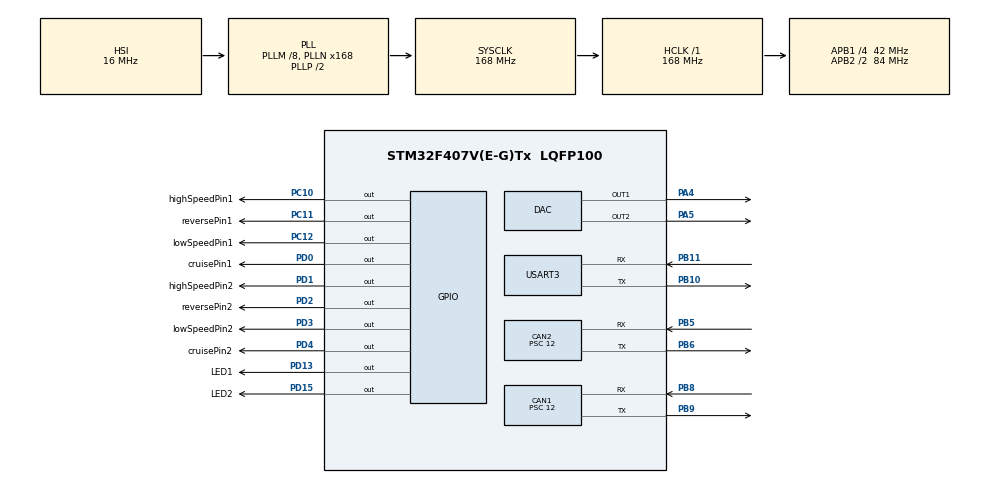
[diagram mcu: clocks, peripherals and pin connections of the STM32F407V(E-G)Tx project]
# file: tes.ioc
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CAN1.BS1=CAN_BS1_11TQ
CAN1.BS2=CAN_BS2_2TQ
CAN1.CalculateBaudRate=250000
CAN1.CalculateTimeBit=4000
CAN1.CalculateTimeQuantum=285.7142857142857
CAN1.Mode=CAN_MODE_NORMAL
CAN1.Prescaler=12
CAN2.BS1=CAN_BS1_11TQ
CAN2.BS2=CAN_BS2_2TQ
CAN2.CalculateBaudRate=250000
CAN2.CalculateTimeBit=4000
CAN2.CalculateTimeQuantum=285.7142857142857
CAN2.Prescaler=12
FREERTOS.Tasks01=canTransmit,1,128,can_transmit,Default,NULL,Dynamic,NULL,NULL;canRcvtask,2,128,can_rcv,Default,NULL,Dynamic,NULL,NULL;parsePXNTask,0,128,parsePXN,Default,NULL,Dynamic,NULL,NULL;parseVotolTask,-1,128,parseSetVotol,Default,NULL,Dynamic,NULL,NULL;ackerman,1,128,ackerman_func,Default,NULL,Dynamic,NULL,NULL;throttleVotol,3,128,throttleVotolTask,Default,NULL,Dynamic,NULL,NULL;can_rcvPXNTask,3,128,canRcvPXN,Default,NULL,Dynamic,NULL,NULL
FREERTOS.configENABLE_FPU=0
FREERTOS.configTICK_RATE_HZ=1000
FREERTOS.configUSE_COUNTING_SEMAPHORES=1
FREERTOS.configUSE_NEWLIB_REENTRANT=1
FREERTOS.configUSE_PREEMPTION=1
Mcu.Family=STM32F4
Mcu.Name=STM32F407V(E-G)Tx
Mcu.Package=LQFP100
NVIC.CAN1_RX1_IRQn=true\:5\:0\:false\:false\:true\:true\:true\:true\:true
NVIC.CAN2_RX1_IRQn=true\:5\:0\:false\:false\:true\:true\:true\:true\:true
NVIC.PriorityGroup=NVIC_PRIORITYGROUP_4
NVIC.TIM6_DAC_IRQn=true\:15\:0\:false\:false\:true\:false\:false\:true\:true
NVIC.TimeBase=TIM6_DAC_IRQn
NVIC.TimeBaseIP=TIM6
NVIC.USART3_IRQn=true\:5\:0\:false\:false\:true\:true\:true\:true\:true
PA13.Mode=Serial_Wire
PA13.Signal=SYS_JTMS-SWDIO
PA14.Mode=Serial_Wire
PA14.Signal=SYS_JTCK-SWCLK
PA4.Signal=COMP_DAC1_group
PA5.Signal=COMP_DAC2_group
PB10.Mode=Asynchronous
PB10.Signal=USART3_TX
PB11.Mode=Asynchronous
PB11.Signal=USART3_RX
PB5.GPIO_PuPd=GPIO_PULLUP
PB5.Mode=CAN_Activate
PB5.Signal=CAN2_RX
PB6.Mode=CAN_Activate
PB6.Signal=CAN2_TX
PB8.GPIO_Mode=GPIO_MODE_AF_PP
PB8.GPIO_PuPd=GPIO_PULLUP
PB8.GPIO_Speed=GPIO_SPEED_FREQ_VERY_HIGH
PB8.Mode=CAN_Activate
PB8.Signal=CAN1_RX
PB9.GPIO_Mode=GPIO_MODE_AF_PP
PB9.GPIO_PuPd=GPIO_NOPULL
PB9.GPIO_Speed=GPIO_SPEED_FREQ_VERY_HIGH
PB9.Mode=CAN_Activate
PB9.Signal=CAN1_TX
PC10.GPIO_Label=highSpeedPin1
PC10.Signal=GPIO_Output
PC11.GPIO_Label=reversePin1
PC11.Signal=GPIO_Output
PC12.GPIO_Label=lowSpeedPin1
PC12.Signal=GPIO_Output
PD0.GPIO_Label=cruisePin1
PD0.Signal=GPIO_Output
PD1.GPIO_Label=highSpeedPin2
PD1.Signal=GPIO_Output
PD13.GPIO_Label=LED1
PD13.Signal=GPIO_Output
PD15.GPIO_Label=LED2
PD15.Signal=GPIO_Output
PD2.GPIO_Label=reversePin2
PD2.Signal=GPIO_Output
PD3.GPIO_Label=lowSpeedPin2
PD3.Signal=GPIO_Output
PD4.GPIO_Label=cruisePin2
PD4.Signal=GPIO_Output
PH0-OSC_IN.Mode=HSE-External-Oscillator
PH0-OSC_IN.Signal=RCC_OSC_IN
PH1-OSC_OUT.Mode=HSE-External-Oscillator
PH1-OSC_OUT.Signal=RCC_OSC_OUT
ProjectManager.HeapSize=0x200
ProjectManager.StackSize=0x400
ProjectManager.TargetToolchain=STM32CubeIDE
RCC.48MHZClocksFreq_Value=84000000
RCC.AHBFreq_Value=168000000
RCC.APB1CLKDivider=RCC_HCLK_DIV4
RCC.APB1Freq_Value=42000000
RCC.APB1TimFreq_Value=84000000
RCC.APB2CLKDivider=RCC_HCLK_DIV2
RCC.APB2Freq_Value=84000000
RCC.APB2TimFreq_Value=168000000
RCC.CortexFreq_Value=168000000
RCC.HCLKFreq_Value=168000000
RCC.HSE_VALUE=8000000
RCC.HSI_VALUE=16000000
RCC.LSE_VALUE=32768
RCC.PLLM=8
RCC.PLLN=168
RCC.SYSCLKFreq_VALUE=168000000
RCC.SYSCLKSource=RCC_SYSCLKSOURCE_PLLCLK
RCC.VCOOutputFreq_Value=336000000
SH.COMP_DAC1_group.0=DAC_OUT1,DAC_OUT1
SH.COMP_DAC2_group.0=DAC_OUT2,DAC_OUT2
TIM2.Period=1000000
TIM2.Prescaler=168-1
USART3.VirtualMode=VM_ASYNC
VP_FREERTOS_VS_CMSIS_V1.Mode=CMSIS_V1
VP_SYS_VS_tim6.Mode=TIM6
VP_TIM2_VS_ClockSourceINT.Mode=Internal
board=custom

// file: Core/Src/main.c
/* USER CODE BEGIN Header */
/**
  ******************************************************************************
  * @file           : main.c
  * @brief          : Main program body
  ******************************************************************************
  * @attention
  *
  * Copyright (c) 2024 STMicroelectronics.
  * All rights reserved.
  *
  * This software is licensed under terms that can be found in the LICENSE file
  * in the root directory of this software component.
  * If no LICENSE file comes with this software, it is provided AS-IS.
  *
  ******************************************************************************
  */
/* USER CODE END Header */
#include "main.h"
#include "cmsis_os.h"

/* USER CODE BEGIN PD */
#define RPM_ECO 	 2262;
#define RPM_NORMAL 	 3548;
#define RPM_SPORT	 4060;
/* USER CODE END PD */

CAN_HandleTypeDef hcan1;
CAN_HandleTypeDef hcan2;

DAC_HandleTypeDef hdac;

TIM_HandleTypeDef htim2;

UART_HandleTypeDef huart3;

osThreadId canTransmitHandle;
osThreadId canRcvtaskHandle;
osThreadId parsePXNTaskHandle;
osThreadId parseVotolTaskHandle;
osThreadId ackermanHandle;
osThreadId throttleVotolHandle;
osThreadId can_rcvPXNTaskHandle;
/* USER CODE BEGIN PV */
uint8_t tes1 = 0;
uint8_t tes2 = 0;
uint16_t out_tes = 0;

uint8_t rxtxBuffer[100];

//int flag_trigPXN = 0;
//int flag_trigVotol = 0;
//int steering_angle=0, throttle=0, trig_cntr =0;
//float vehicle_speed = 0;

/* USER CODE END PV */

void SystemClock_Config(void);
static void MX_GPIO_Init(void);
static void MX_CAN1_Init(void);
static void MX_USART3_UART_Init(void);
static void MX_DAC_Init(void);
static void MX_TIM2_Init(void);
static void MX_CAN2_Init(void);
void can_transmit(void const * argument);
void can_rcv(void const * argument);
void parsePXN(void const * argument);
void parseSetVotol(void const * argument);
void ackerman_func(void const * argument);
void throttleVotolTask(void const * argument);
void canRcvPXN(void const * argument);

/* USER CODE BEGIN PFP */
//void getSpeed(void);
//void getWheelSpeed(void);
//void getAngularSpeed(void);
void MotorData(void);
/* USER CODE END PFP */

/* USER CODE BEGIN 0 */

/* ================= Variable for CAN ================= */
CAN_TxHeaderTypeDef   TxHeader1; //for LeftVotol1
CAN_TxHeaderTypeDef   TxHeader2; //for LeftVotol2
CAN_TxHeaderTypeDef   TxHeader3; //for LeftVotol1
CAN_TxHeaderTypeDef   TxHeader4; //for LeftVotol2
CAN_TxHeaderTypeDef   TxHeader5; //for PXN Low Voltage
CAN_TxHeaderTypeDef   TxHeader6; //for PXN Low Voltage 2
CAN_TxHeaderTypeDef   TxHeader7; //for PXN Low Voltage 3

CAN_RxHeaderTypeDef   RxHeader;    //for Receive CAN1
uint8_t               RxData[8] = {0};
CAN_RxHeaderTypeDef   RxHeaderPXN; //for Receive CAN2
uint8_t               RxDataPXN[8] = {0};

uint8_t               TxData1[8]; //for LeftVotol1
uint8_t               TxData2[8]; //for LeftVotol2
uint8_t               TxData3[8]; //for LeftVotol1
uint8_t               TxData4[8]; //for LeftVotol2
uint8_t               TxData5[8]; //for PXN Low Voltage
uint8_t               TxData6[8]; //for PXN Low Voltage 2
uint8_t               TxData7[8]; //for PXN Low Voltage 3

uint32_t              TxMailbox; //mailbox

HAL_StatusTypeDef	CAN_State;
HAL_StatusTypeDef	CAN_State2;
/* ================= Variable for Votol Data ================= */
uint8_t  L_ControllerTemp = 0xEE, L_ExternalTemp = 0xFF, L_GearStatus = 0xCC, L_ControllerStatus = 0xDD;
uint8_t  Vehicle_Speed = 0x00;
uint16_t L_MotorVoltage = 0xAABB, L_MotorCurrent = 0xCCDD, L_MotorRPM = 0x0000, L_TempCoef = 0xAABB;
uint32_t L_MotorFC = 0x08100000;

uint8_t  R_ControllerTemp = 0, R_ExternalTemp = 0, R_GearStatus = 0, R_ControllerStatus = 0;
uint16_t R_MotorVoltage = 0, R_MotorCurrent = 0, R_MotorRPM = 0x1000, R_TempCoef = 0;
uint32_t R_MotorFC = 0;

float angular_speed1 = 0.0, angular_speed2 = 0.0;
float wheel_speed1, wheel_speed2;
float angular_speed;
float turning_radius;
float vehicle_speed = 0;
float wheels_radius = 0.19; //(m)
float L = 2.3; //(m) vehicle body length
float d = 1.46; //(m) vehicle body width

int RPM_th = RPM_NORMAL;
/* ================= Variable for UART ================= */
uint8_t transmitBuffer[100];

/* ================= Variable for PXN Data ================= */
float SteeringWheel = 0;
int SteeringWheelInt = 0;
int Pedal = 0;
uint16_t type;
uint16_t code;
int32_t value = 0;

/* ================= Variable for Votol Input ================= */
uint16_t setDAC1=(float)1.25*4095/2.95, setDAC2=(float)1.25*4095/2.95, maxSpeed1=4095*0.5;
uint16_t targetDAC1=(float)1.25*4095/2.95, targetDAC2=(float)1.25*4095/2.95, maxSpeed2=4095*0.5;

/* ================= Timer Variable ===================== */
uint16_t timer_val = 0;

/* ================= Low Voltage System ===================== */
int data1, data2, LB, HB, FL, DL;
uint8_t  Byte0 = 0x1F, Byte1 = 0x0C, door = 0x02;

/* ================= bitRead & bitSet ================== */
// Define untuk mengambil bit ke-n dari sebuah byte
#define bitRead(value, bit) (((value) >> (bit)) & 0x03)
// Define untuk mengganti bit ke-n dari sebuah byte
#define bitSet(byte, n, value) ((value) ? (byte |= (1UL << (n))) : (byte &= ~(1UL << (n))))
/* USER CODE END 0 */

int main(void)
{

  /* MCU Configuration--------------------------------------------------------*/

  /* Reset of all peripherals, Initializes the Flash interface and the Systick. */
  HAL_Init();

  /* Configure the system clock */
  SystemClock_Config();

  /* Initialize all configured peripherals */
  MX_GPIO_Init();
  MX_CAN1_Init();
  MX_USART3_UART_Init();
  MX_DAC_Init();
  MX_TIM2_Init();
  MX_CAN2_Init();
  /* USER CODE BEGIN 2 */
  HAL_DAC_Start(&hdac, DAC_CHANNEL_1); //****************************
  HAL_DAC_Start(&hdac, DAC_CHANNEL_2);
  HAL_DAC_SetValue(&hdac, DAC_CHANNEL_1,DAC_ALIGN_12B_R, (setDAC1));
  HAL_DAC_SetValue(&hdac, DAC_CHANNEL_2,DAC_ALIGN_12B_R, (setDAC2));
  //HAL_TIM_Base_Start(&htim2);
  //HAL_CAN_ActivateNotification(&hcan1, CAN_IT_RX_FIFO0_MSG_PENDING);
  HAL_TIM_Base_Start(&htim2);

  /* USER CODE END 2 */

  /* Create the thread(s) */
  /* definition and creation of canTransmit */
  osThreadDef(canTransmit, can_transmit, osPriorityAboveNormal, 0, 128);
  canTransmitHandle = osThreadCreate(osThread(canTransmit), NULL);

  /* definition and creation of canRcvtask */
  osThreadDef(canRcvtask, can_rcv, osPriorityHigh, 0, 128);
  canRcvtaskHandle = osThreadCreate(osThread(canRcvtask), NULL);

  /* definition and creation of parsePXNTask */
  osThreadDef(parsePXNTask, parsePXN, osPriorityNormal, 0, 128);
  parsePXNTaskHandle = osThreadCreate(osThread(parsePXNTask), NULL);

  /* definition and creation of parseVotolTask */
  osThreadDef(parseVotolTask, parseSetVotol, osPriorityBelowNormal, 0, 128);
  parseVotolTaskHandle = osThreadCreate(osThread(parseVotolTask), NULL);

  /* definition and creation of ackerman */
  osThreadDef(ackerman, ackerman_func, osPriorityAboveNormal, 0, 128);
  ackermanHandle = osThreadCreate(osThread(ackerman), NULL);

  /* definition and creation of throttleVotol */
  osThreadDef(throttleVotol, throttleVotolTask, osPriorityRealtime, 0, 128);
  throttleVotolHandle = osThreadCreate(osThread(throttleVotol), NULL);

  /* definition and creation of can_rcvPXNTask */
  osThreadDef(can_rcvPXNTask, canRcvPXN, osPriorityRealtime, 0, 128);
  can_rcvPXNTaskHandle = osThreadCreate(osThread(can_rcvPXNTask), NULL);

  /* Start scheduler */
  osKernelStart();

  /* We should never get here as control is now taken by the scheduler */
  /* Infinite loop */
  while (1)
  {

  }
}

void SystemClock_Config(void)
{
  RCC_OscInitTypeDef RCC_OscInitStruct = {0};
  RCC_ClkInitTypeDef RCC_ClkInitStruct = {0};

  /** Configure the main internal regulator output voltage
  */
  __HAL_RCC_PWR_CLK_ENABLE();
  __HAL_PWR_VOLTAGESCALING_CONFIG(PWR_REGULATOR_VOLTAGE_SCALE1);

  /** Initializes the RCC Oscillators according to the specified parameters
  * in the RCC_OscInitTypeDef structure.
  */
  RCC_OscInitStruct.OscillatorType = RCC_OSCILLATORTYPE_HSI;
  RCC_OscInitStruct.HSIState = RCC_HSI_ON;
  RCC_OscInitStruct.HSICalibrationValue = RCC_HSICALIBRATION_DEFAULT;
  RCC_OscInitStruct.PLL.PLLState = RCC_PLL_ON;
  RCC_OscInitStruct.PLL.PLLSource = RCC_PLLSOURCE_HSI;
  RCC_OscInitStruct.PLL.PLLM = 8;
  RCC_OscInitStruct.PLL.PLLN = 168;
  RCC_OscInitStruct.PLL.PLLP = RCC_PLLP_DIV2;
  RCC_OscInitStruct.PLL.PLLQ = 4;
  if (HAL_RCC_OscConfig(&RCC_OscInitStruct) != HAL_OK)
  {
    Error_Handler();
  }

  /** Initializes the CPU, AHB and APB buses clocks
  */
  RCC_ClkInitStruct.ClockType = RCC_CLOCKTYPE_HCLK|RCC_CLOCKTYPE_SYSCLK
                              |RCC_CLOCKTYPE_PCLK1|RCC_CLOCKTYPE_PCLK2;
  RCC_ClkInitStruct.SYSCLKSource = RCC_SYSCLKSOURCE_PLLCLK;
  RCC_ClkInitStruct.AHBCLKDivider = RCC_SYSCLK_DIV1;
  RCC_ClkInitStruct.APB1CLKDivider = RCC_HCLK_DIV4;
  RCC_ClkInitStruct.APB2CLKDivider = RCC_HCLK_DIV2;

  if (HAL_RCC_ClockConfig(&RCC_ClkInitStruct, FLASH_LATENCY_5) != HAL_OK)
  {
    Error_Handler();
  }
}

static void MX_CAN1_Init(void)
{

  hcan1.Instance = CAN1;
  hcan1.Init.Prescaler = 12;
  hcan1.Init.Mode = CAN_MODE_NORMAL;
  hcan1.Init.SyncJumpWidth = CAN_SJW_1TQ;
  hcan1.Init.TimeSeg1 = CAN_BS1_11TQ;
  hcan1.Init.TimeSeg2 = CAN_BS2_2TQ;
  hcan1.Init.TimeTriggeredMode = DISABLE;
  hcan1.Init.AutoBusOff = DISABLE;
  hcan1.Init.AutoWakeUp = DISABLE;
  hcan1.Init.AutoRetransmission = DISABLE;
  hcan1.Init.ReceiveFifoLocked = DISABLE;
  hcan1.Init.TransmitFifoPriority = DISABLE;
  if (HAL_CAN_Init(&hcan1) != HAL_OK)
  {
    Error_Handler();
  }
  /* USER CODE BEGIN CAN1_Init 2 */
  CAN_FilterTypeDef canfilterconfig;
  canfilterconfig.FilterActivation = CAN_FILTER_ENABLE;
  canfilterconfig.FilterBank = 10;
  canfilterconfig.FilterFIFOAssignment = CAN_RX_FIFO1;
  canfilterconfig.FilterIdHigh = 0;
  canfilterconfig.FilterIdLow = 0x0000;
  canfilterconfig.FilterMaskIdHigh = 0;
  canfilterconfig.FilterMaskIdLow = 0x0000;
  canfilterconfig.FilterMode = CAN_FILTERMODE_IDMASK;
  canfilterconfig.FilterScale = CAN_FILTERSCALE_32BIT;
  canfilterconfig.SlaveStartFilterBank = 0;

  if(HAL_CAN_ConfigFilter(&hcan1, &canfilterconfig) != HAL_OK)
    {
      Error_Handler();
    }

  if(HAL_CAN_Start(&hcan1) != HAL_OK)
    {
        Error_Handler();
    }

  if (HAL_CAN_ActivateNotification(&hcan1, CAN_IT_RX_FIFO1_MSG_PENDING) != HAL_OK)
    {
      /* Notification Error */
      Error_Handler();
    }

  TxHeader1.IDE = CAN_ID_EXT;
  TxHeader1.ExtId = 0xCF003FE; //Left Motor Voltage 1
  TxHeader1.RTR = CAN_RTR_DATA;
  TxHeader1.DLC = 8;

  TxHeader2.IDE = CAN_ID_EXT;
  TxHeader2.ExtId = 0xCF004FE; //Left Motor Voltage 2
  TxHeader2.RTR = CAN_RTR_DATA;
  TxHeader2.DLC = 8;

  TxHeader3.IDE = CAN_ID_EXT;
  TxHeader3.ExtId = 0xCFEDFFE; //Right Motor Voltage 1
  TxHeader3.RTR = CAN_RTR_DATA;
  TxHeader3.DLC = 8;

  TxHeader4.IDE = CAN_ID_EXT;
  TxHeader4.ExtId = 0xCFEBEFE; //Right Motor Voltage 2
  TxHeader4.RTR = CAN_RTR_DATA;
  TxHeader4.DLC = 8;

  TxHeader5.IDE = CAN_ID_EXT;
  TxHeader5.ExtId = 0x18FE401E; //Low Voltage PXN
  TxHeader5.RTR = CAN_RTR_DATA;
  TxHeader5.DLC = 8;

  TxHeader6.IDE = CAN_ID_EXT;
  TxHeader6.ExtId = 0x18FE4EEC; //Low Voltage PXN 2
  TxHeader6.RTR = CAN_RTR_DATA;
  TxHeader6.DLC = 8;

  TxHeader7.IDE = CAN_ID_EXT;
  TxHeader7.ExtId = 0x98F001FE; //Low Voltage PXN 3
  TxHeader7.RTR = CAN_RTR_DATA;
  TxHeader7.DLC = 8;
  /* USER CODE END CAN1_Init 2 */

}

static void MX_CAN2_Init(void)
{

  hcan2.Instance = CAN2;
  hcan2.Init.Prescaler = 12;
  hcan2.Init.Mode = CAN_MODE_NORMAL;
  hcan2.Init.SyncJumpWidth = CAN_SJW_1TQ;
  hcan2.Init.TimeSeg1 = CAN_BS1_11TQ;
  hcan2.Init.TimeSeg2 = CAN_BS2_2TQ;
  hcan2.Init.TimeTriggeredMode = DISABLE;
  hcan2.Init.AutoBusOff = DISABLE;
  hcan2.Init.AutoWakeUp = DISABLE;
  hcan2.Init.AutoRetransmission = DISABLE;
  hcan2.Init.ReceiveFifoLocked = DISABLE;
  hcan2.Init.TransmitFifoPriority = DISABLE;
  if (HAL_CAN_Init(&hcan2) != HAL_OK)
  {
    Error_Handler();
  }
  /* USER CODE BEGIN CAN2_Init 2 */
  CAN_FilterTypeDef canfilterconfig2;
  canfilterconfig2.FilterActivation = CAN_FILTER_ENABLE;
  canfilterconfig2.FilterBank = 10;
  canfilterconfig2.FilterFIFOAssignment = CAN_RX_FIFO1;
  canfilterconfig2.FilterIdHigh = 0;
  canfilterconfig2.FilterIdLow = 0x0000;
  canfilterconfig2.FilterMaskIdHigh = 0;
  canfilterconfig2.FilterMaskIdLow = 0x0000;
  canfilterconfig2.FilterMode = CAN_FILTERMODE_IDMASK;
  canfilterconfig2.FilterScale = CAN_FILTERSCALE_32BIT;
  canfilterconfig2.SlaveStartFilterBank = 0;

    if(HAL_CAN_ConfigFilter(&hcan2, &canfilterconfig2) != HAL_OK)
      {
        Error_Handler();
      }

    if(HAL_CAN_Start(&hcan2) != HAL_OK)
        {
          Error_Handler();
        }

    if (HAL_CAN_ActivateNotification(&hcan2, CAN_IT_RX_FIFO1_MSG_PENDING) != HAL_OK)
      {
        /* Notification Error */
        Error_Handler();
      }
  /* USER CODE END CAN2_Init 2 */

}

static void MX_DAC_Init(void)
{

  DAC_ChannelConfTypeDef sConfig = {0};

  /** DAC Initialization
  */
  hdac.Instance = DAC;
  if (HAL_DAC_Init(&hdac) != HAL_OK)
  {
    Error_Handler();
  }

  /** DAC channel OUT1 config
  */
  sConfig.DAC_Trigger = DAC_TRIGGER_NONE;
  sConfig.DAC_OutputBuffer = DAC_OUTPUTBUFFER_ENABLE;
  if (HAL_DAC_ConfigChannel(&hdac, &sConfig, DAC_CHANNEL_1) != HAL_OK)
  {
    Error_Handler();
  }

  /** DAC channel OUT2 config
  */
  if (HAL_DAC_ConfigChannel(&hdac, &sConfig, DAC_CHANNEL_2) != HAL_OK)
  {
    Error_Handler();
  }

}

static void MX_TIM2_Init(void)
{

  TIM_ClockConfigTypeDef sClockSourceConfig = {0};
  TIM_MasterConfigTypeDef sMasterConfig = {0};

  htim2.Instance = TIM2;
  htim2.Init.Prescaler = 168-1;
  htim2.Init.CounterMode = TIM_COUNTERMODE_UP;
  htim2.Init.Period = 1000000;
  htim2.Init.ClockDivision = TIM_CLOCKDIVISION_DIV1;
  htim2.Init.AutoReloadPreload = TIM_AUTORELOAD_PRELOAD_DISABLE;
  if (HAL_TIM_Base_Init(&htim2) != HAL_OK)
  {
    Error_Handler();
  }
  sClockSourceConfig.ClockSource = TIM_CLOCKSOURCE_INTERNAL;
  if (HAL_TIM_ConfigClockSource(&htim2, &sClockSourceConfig) != HAL_OK)
  {
    Error_Handler();
  }
  sMasterConfig.MasterOutputTrigger = TIM_TRGO_RESET;
  sMasterConfig.MasterSlaveMode = TIM_MASTERSLAVEMODE_DISABLE;
  if (HAL_TIMEx_MasterConfigSynchronization(&htim2, &sMasterConfig) != HAL_OK)
  {
    Error_Handler();
  }

}

static void MX_USART3_UART_Init(void)
{

  huart3.Instance = USART3;
  huart3.Init.BaudRate = 115200;
  huart3.Init.WordLength = UART_WORDLENGTH_8B;
  huart3.Init.StopBits = UART_STOPBITS_1;
  huart3.Init.Parity = UART_PARITY_NONE;
  huart3.Init.Mode = UART_MODE_TX_RX;
  huart3.Init.HwFlowCtl = UART_HWCONTROL_NONE;
  huart3.Init.OverSampling = UART_OVERSAMPLING_16;
  if (HAL_UART_Init(&huart3) != HAL_OK)
  {
    Error_Handler();
  }

}

static void MX_GPIO_Init(void)
{
  GPIO_InitTypeDef GPIO_InitStruct = {0};

  /* GPIO Ports Clock Enable */
  __HAL_RCC_GPIOH_CLK_ENABLE();
  __HAL_RCC_GPIOA_CLK_ENABLE();
  __HAL_RCC_GPIOB_CLK_ENABLE();
  __HAL_RCC_GPIOD_CLK_ENABLE();
  __HAL_RCC_GPIOC_CLK_ENABLE();

  /*Configure GPIO pin Output Level */
  HAL_GPIO_WritePin(GPIOD, LED1_Pin|LED2_Pin|cruisePin1_Pin|highSpeedPin2_Pin
                          |reversePin2_Pin|lowSpeedPin2_Pin|cruisePin2_Pin, GPIO_PIN_RESET);

  /*Configure GPIO pin Output Level */
  HAL_GPIO_WritePin(GPIOC, highSpeedPin1_Pin|reversePin1_Pin|lowSpeedPin1_Pin, GPIO_PIN_RESET);

  /*Configure GPIO pins : LED1_Pin LED2_Pin cruisePin1_Pin highSpeedPin2_Pin
                           reversePin2_Pin lowSpeedPin2_Pin cruisePin2_Pin */
  GPIO_InitStruct.Pin = LED1_Pin|LED2_Pin|cruisePin1_Pin|highSpeedPin2_Pin
                          |reversePin2_Pin|lowSpeedPin2_Pin|cruisePin2_Pin;
  GPIO_InitStruct.Mode = GPIO_MODE_OUTPUT_PP;
  GPIO_InitStruct.Pull = GPIO_NOPULL;
  GPIO_InitStruct.Speed = GPIO_SPEED_FREQ_LOW;
  HAL_GPIO_Init(GPIOD, &GPIO_InitStruct);

  /*Configure GPIO pins : highSpeedPin1_Pin reversePin1_Pin lowSpeedPin1_Pin */
  GPIO_InitStruct.Pin = highSpeedPin1_Pin|reversePin1_Pin|lowSpeedPin1_Pin;
  GPIO_InitStruct.Mode = GPIO_MODE_OUTPUT_PP;
  GPIO_InitStruct.Pull = GPIO_NOPULL;
  GPIO_InitStruct.Speed = GPIO_SPEED_FREQ_LOW;
  HAL_GPIO_Init(GPIOC, &GPIO_InitStruct);

}

/* USER CODE BEGIN 4 */
//CAN Rcv interrupt callback
void HAL_CAN_RxFifo1MsgPendingCallback(CAN_HandleTypeDef *hcan)
{
	//Receive from AAOS
	CAN_State = HAL_CAN_GetRxMessage(&hcan1, CAN_RX_FIFO1, &RxHeader, RxData);
	//timer_val = __HAL_TIM_GET_COUNTER(&htim2) - timer_val;

	//Receive from PXN
	CAN_State2 = HAL_CAN_GetRxMessage(&hcan2, CAN_RX_FIFO1, &RxHeaderPXN, RxDataPXN);
}

/*
void getSpeed(void)
{
	vehicle_speed = L_MotorRPM * 6000 / 255; //in RPM
	vehicle_speed = (vehicle_speed * (2*3.14))/60; // in rad/s
	vehicle_speed = vehicle_speed * wheels_radius; // (m/s)
}

void getWheelSpeed(void)
{
	angular_speed = vehicle_speed * tanf(SteeringWheelInt*3.14/180)/L;
	turning_radius = vehicle_speed/angular_speed;

	wheel_speed1 = angular_speed * (turning_radius+(d/2));
	wheel_speed2 = angular_speed * (turning_radius-(d/2));
}

void getAngularSpeed(void)
{
	angular_speed1 = wheel_speed1 / wheels_radius;
	angular_speed2 = wheel_speed2 / wheels_radius;
}*/

void MotorData(void)
{
	/* LEFT MOTOR */
	TxData1[1] = L_MotorVoltage;
	TxData1[0] = L_MotorVoltage >> 8;
	TxData1[3] = L_MotorCurrent;
	TxData1[2] = L_MotorCurrent >> 8;
	TxData1[7] = L_MotorFC;
	TxData1[6] = L_MotorFC >> 8;
	TxData1[5] = L_MotorFC >> 16;
	TxData1[4] = L_MotorFC >> 24;

	TxData2[1] = L_MotorRPM;
	TxData2[0] = L_MotorRPM >> 8;
	//TxData2[2] = L_Cont	rollerTemp;
	//Vehicle_Speed = 5;
	TxData2[2] = Vehicle_Speed;
	TxData2[3] = L_ExternalTemp;
	TxData2[5] = L_TempCoef;
	TxData2[4] = L_TempCoef >> 8;
	TxData2[6] = L_GearStatus;
	TxData2[7] = L_ControllerStatus;

	/* RIGHT MOTOR */
	TxData3[1] = R_MotorVoltage;
	TxData3[0] = R_MotorVoltage >> 8;
	TxData3[3] = R_MotorCurrent;
	TxData3[2] = R_MotorCurrent >> 8;
	TxData3[7] = R_MotorFC;
	TxData3[6] = R_MotorFC >> 8;
	TxData3[5] = R_MotorFC >> 16;
	TxData3[4] = R_MotorFC >> 24;

	TxData4[1] = R_MotorRPM;
	TxData4[0] = R_MotorRPM >> 8;
	TxData4[2] = R_ControllerTemp;
	TxData4[3] = R_ExternalTemp;
	TxData4[5] = R_TempCoef;
	TxData4[4] = R_TempCoef >> 8;
	TxData4[6] = R_GearStatus;
	TxData4[7] = R_ControllerStatus;
}

void PXNLowVoltageData(void)
{
	TxData5 [0] = Byte0;
	TxData5 [1] = Byte1;
	TxData5 [2] = 0xFF;
	TxData5 [3] = 0xFF;
	TxData5 [4] = 0xFC;
	TxData5 [5] = 0xFF;
	TxData5 [6] = 0xFF;
	TxData5 [7] = door;

	TxData6 [0] = door;
	TxData6 [1] = 0xF3;
	TxData6 [2] = 0xFF;
	TxData6 [3] = 0x3F;
	TxData6 [4] = 0xFF;
	TxData6 [5] = 0xFF;
	TxData6 [6] = 0xFF;
	TxData6 [7] = 0xFF;
	//Hasan
	TxData7[7] = door;
}
/* USER CODE END 4 */

void can_transmit(void const * argument)
{
  /* USER CODE BEGIN 5 */

  /* Infinite loop */
	for(;;)
	  {

		MotorData();
		PXNLowVoltageData();
		//Transmit LeftVotol1 Data
		if (HAL_CAN_AddTxMessage(&hcan1, &TxHeader1, TxData1, &TxMailbox) != HAL_OK)
		{
			/* Transmission request Error */
			Error_Handler();
		}
		HAL_Delay(10);
		sprintf(transmitBuffer, "CAN ID : %0X, Data : %02X %02X %02X %02X %02X %02X %02X %02X\n", TxHeader1.ExtId, TxData1[0], TxData1[1], TxData1[2], TxData1[3], TxData1[4], TxData1[5], TxData1[6], TxData1[7]);
		HAL_UART_Transmit_IT(&huart3, transmitBuffer, 50);
		memset(transmitBuffer, '\0', sizeof(transmitBuffer));

		//Transmit LeftVotol2 Data
		if (HAL_CAN_AddTxMessage(&hcan1, &TxHeader2, TxData2, &TxMailbox) != HAL_OK)
		{
			/* Transmission request Error */
			Error_Handler();
		}
		HAL_Delay(10);
		sprintf(transmitBuffer, "CAN ID : %0X, Data : %02X %02X %02X %02X %02X %02X %02X %02X\n", TxHeader2.ExtId, TxData2[0], TxData2[1], TxData2[2], TxData2[3], TxData2[4], TxData2[5], TxData2[6], TxData2[7]);
		HAL_UART_Transmit_IT(&huart3, transmitBuffer, 50);
		memset(transmitBuffer, '\0', sizeof(transmitBuffer));

		if (HAL_CAN_AddTxMessage(&hcan1, &TxHeader3, TxData3, &TxMailbox) != HAL_OK)
		{
			/* Transmission request Error */
			Error_Handler();
		}
		HAL_Delay(10);
		sprintf(transmitBuffer, "CAN ID : %0X, Data : %02X %02X %02X %02X %02X %02X %02X %02X\n", TxHeader3.ExtId, TxData3[0], TxData3[1], TxData3[2], TxData3[3], TxData3[4], TxData3[5], TxData3[6], TxData3[7]);
		HAL_UART_Transmit_IT(&huart3, transmitBuffer, 50);
		memset(transmitBuffer, '\0', sizeof(transmitBuffer));

		//Transmit LeftVotol2 Data
		if (HAL_CAN_AddTxMessage(&hcan1, &TxHeader4, TxData4, &TxMailbox) != HAL_OK)
		{
			/* Transmission request Error */
			Error_Handler();
		}
		HAL_Delay(10);

		//Transmit Low Voltage
		if (HAL_CAN_AddTxMessage(&hcan1, &TxHeader5, TxData5, &TxMailbox) != HAL_OK)
		{
			/* Transmission request Error */
			Error_Handler();
		}
		HAL_Delay(10);

		if (HAL_CAN_AddTxMessage(&hcan1, &TxHeader6, TxData6, &TxMailbox) != HAL_OK)
		{
			/* Transmission request Error */
			Error_Handler();
		}
		HAL_Delay(10);

		if (HAL_CAN_AddTxMessage(&hcan1, &TxHeader7, TxData7, &TxMailbox) != HAL_OK)
		{
			/* Transmission request Error */
			Error_Handler();
		}
		HAL_Delay(10);
		sprintf(transmitBuffer, "CAN ID : %0X, Data : %02X %02X %02X %02X %02X %02X %02X %02X\n", TxHeader4.ExtId, TxData4[0], TxData4[1], TxData4[2], TxData4[3], TxData4[4], TxData4[5], TxData4[6], TxData4[7]);
		HAL_UART_Transmit_IT(&huart3, transmitBuffer, 50);
		memset(transmitBuffer, '\0', sizeof(transmitBuffer));

//
//		if(TxMailbox >= 3)
//		{
//			TxMailbox = 0;
//		}
//
//		if (HAL_CAN_AddTxMessage(&hcan2, &TxHeader4, TxData4, &TxMailbox) != HAL_OK)
//		{
//			/* Transmission request Error */
//			Error_Handler();
//		}
//		HAL_Delay(10);

		osDelay(200);
	  }
  /* USER CODE END 5 */
}

void can_rcv(void const * argument)
{
  /* USER CODE BEGIN can_rcv */
	osThreadSuspend(parseVotolTaskHandle);
	osThreadSuspend(ackermanHandle);
  /* Infinite loop */

  for(;;)
  {
	//printf ("In Can Rcv\n");
	 //Timer Start!
	//timer_val = __HAL_TIM_GET_COUNTER(&htim2);
	if (CAN_State == HAL_OK)
	  {
		HAL_GPIO_TogglePin (LED1_GPIO_Port, LED1_Pin);
		//Tes!
		/*sprintf(transmitBuffer, "CAN ID : %0X, Data : %02X %02X %02X %02X %02X %02X %02X %02X\n", RxHeader.ExtId, RxData[0], RxData[1], RxData[2], RxData[3], RxData[4], RxData[5], RxData[6], RxData[7]);
		HAL_UART_Transmit_IT(&huart3, transmitBuffer, 50);*/
		if(RxHeader.ExtId == 0xCFDA3FE)
		{
			//resume parse votol
			osThreadResume(parseVotolTaskHandle);
			//HAL_GPIO_TogglePin (LED2_GPIO_Port, LED2_Pin);

		}

		//HAL_Delay(10);
		//CAN_State == HAL
		// Get time elapsed

	  }

	//HAL_Delay(150);
    osDelay(1);
  }
  /* USER CODE END can_rcv */
}

void parsePXN(void const * argument)
{
  /* USER CODE BEGIN parsePXN */

  /* Infinite loop */
  for(;;)
  {
	type = RxDataPXN[0];
	code = (RxDataPXN[2] << 8) ^ RxDataPXN[1];
	value = (RxDataPXN[3] << 8) ^ RxDataPXN[4];

	FL = bitRead(Byte1, 0);//Byte1 undefined
	DL = bitRead(door, 0); //door undefined
	LB = bitRead(Byte0, 4);//Byte0 undefined
	HB = bitRead(Byte0, 6);//Byte0 undefined
	data1 = bitRead(Byte1, 6); //Byte1 undefined
	data2 = bitRead(Byte1, 4); //Byte1 undefined

	if(code == 0) //steering
	{
	  	value -= 32768; // to range -32768 - 32768
	  	SteeringWheel = (float)((value*1.0) / 32768) * 135; //conversion to degree
	  	SteeringWheelInt = (int)SteeringWheel;
	}
	else if(code == 1280) //pedal
	{
	  	Pedal = value;

	}

	//Low Voltage

	/**Front Light & Direct Light??*/
	if(RxDataPXN[2] == 0x3B && RxDataPXN[4] == 0x01)
	{
		if (FL == 0x00)
		{
			//HAL_GPIO_WritePin(FL_GPIO_Port, FL_Pin, GPIO_PIN_SET);
			bitSet(Byte1, 0, 1); //bitset function not defined
			bitSet(Byte1, 1, 0);
			//TxData [1] = Byte1; //TxData not defined
		}

		else if (FL == 0x01)
		{
			//HAL_GPIO_WritePin(FL_GPIO_Port, FL_Pin, GPIO_PIN_RESET);
			bitSet(Byte1, 0, 0);
			bitSet(Byte1, 1, 0);
			//TxData [1] = Byte1;
		}

	}
	/*Direct Light*/
	else if(RxDataPXN[2] == 0x3A && RxDataPXN[4] == 0x01)
	{
		if (DL == 0x02)
		{
			//HAL_GPIO_WritePin(DL_GPIO_Port, DL_Pin, GPIO_PIN_SET);
			bitSet(door, 0, 0);
			bitSet(door, 1, 0);
			//TxData2 [0] = door;
			//TxData3 [7] = door;
		}

		else if (DL == 0x00)
		{
			//HAL_GPIO_WritePin(DL_GPIO_Port, DL_Pin, GPIO_PIN_RESET);
			bitSet(door, 0, 0);
			bitSet(door, 1, 1);
			//TxData2 [0] = door;
			//TxData3 [7] = door;
		}
	}
	else if(RxDataPXN[2] == 0x33 && RxDataPXN[4] == 0x01)
	{
		if((LB == 0x01 && HB == 0x00) || (LB == 0x02 && HB == 0x00) || (LB == 0x03 && HB == 0x00))
		{
			bitSet(Byte0, 4, 0);
			bitSet(Byte0, 5, 0);
			bitSet(Byte0, 6, 1);
			bitSet(Byte0, 7, 0);
			//TxData [0] = Byte0;
		}
		else if ((LB == 0x00 && HB == 0x01) || (LB == 0x00 && HB == 0x02) || (LB == 0x00 && HB == 0x03))
		{
			bitSet(Byte0, 4, 1);
			bitSet(Byte0, 5, 0);
			bitSet(Byte0, 6, 0);
			bitSet(Byte0, 7, 0);
			//TxData [0] = Byte0;
		}
	}
	else if(RxDataPXN[2] == 0x02 && RxDataPXN[4] == 0xFF)
	{
		if(data1 == 0x00 || (data1 == 0x01  && data2 == 0x01))
		{
			//adjust the variable to current variable
			bitSet(Byte1, 4, 0);
			bitSet(Byte1, 5, 0);
			bitSet(Byte1, 6, 1);
			bitSet(Byte1, 7, 0);
			//TxData [1] = Byte1;
		}
		else
		{
			//adjust the variable to current variable
			bitSet(Byte1, 6, 0);
			bitSet(Byte1, 7, 0);
			//TxData [1] = Byte1;
		}
	}
	else if(RxDataPXN[2] == 0x05 && RxDataPXN[4] == 0xFF)
	{
		if(data2 == 0x00 || (data1 == 0x01  && data2 == 0x01))
		{
			//adjust the variable to current variable
			bitSet(Byte1, 4, 1);
			bitSet(Byte1, 5, 0);
			bitSet(Byte1, 6, 0);
			bitSet(Byte1, 7, 0);
			//TxData [1] = Byte1;
		}
		else
		{
			//adjust the variable to current variable
			bitSet(Byte1, 4, 0);
			bitSet(Byte1, 5, 0);
			//TxData [1] = Byte1;
		}
	}
	else if(RxDataPXN[2] == 0x34 && RxDataPXN[4] == 0x01)
	{
		if(data1 == 0x00  || data2 == 0x00)
		{
			bitSet(Byte1, 4, 1);
			bitSet(Byte1, 5, 0);
			bitSet(Byte1, 6, 1);
			bitSet(Byte1, 7, 0);
			//TxData [1] = Byte1;
		}
		else
		{
			bitSet(Byte1, 4, 0);
			bitSet(Byte1, 5, 0);
			bitSet(Byte1, 6, 0);
			bitSet(Byte1, 7, 0);
			//TxData [1] = Byte1;
		}
	}
	  		//sprintf(transmitBuffer, "type : %d code : %d data : $d", type, code, value);
//	  		sprintf(transmitBuffer, "steering wheel : %d, Pedal : %d\n", SteeringWheelInt, L_MotorRPM);
	  		// Get time elapsed
	  		//timer_val = __HAL_TIM_GET_COUNTER(&htim2) - timer_val;
	  		//sprintf(transmitBuffer, "%d", timer_val);
	  		//HAL_UART_Transmit_IT(&huart3, transmitBuffer, 50-1);
	  		//HAL_Delay(25);
//	  		memset(transmitBuffer, '\0', sizeof(transmitBuffer));

	  		//HAL_UART_Transmit_IT(&huart3, "\n", 1);
	osThreadResume(ackermanHandle);
	osThreadSuspend(parsePXNTaskHandle);
    osDelay(1);
  }
  /* USER CODE END parsePXN */
}

void parseSetVotol(void const * argument)
{
  /* USER CODE BEGIN parseSetVotol */
  uint8_t CurrMotorMode = -1;
  uint8_t SetMotorMode = -1;

  uint8_t CurrMotorGear = -1;
  uint8_t SetMotorGear = -1;
  /* Infinite loop */
  for(;;)
  {
	 SetMotorMode = RxData[0];
	 SetMotorGear = RxData[1];

	 if(SetMotorMode != CurrMotorMode)
	 {
		 switch(SetMotorMode)
		 	{
		 		case 0x00 : //High
		 					//Motor 1
		 					HAL_GPIO_WritePin(lowSpeedPin1_GPIO_Port, lowSpeedPin1_Pin, GPIO_PIN_RESET);
		 					HAL_GPIO_WritePin(highSpeedPin1_GPIO_Port, highSpeedPin1_Pin, GPIO_PIN_SET);
		 					//Motor 2
		 					HAL_GPIO_WritePin(lowSpeedPin2_GPIO_Port, lowSpeedPin2_Pin, GPIO_PIN_RESET);
		 					HAL_GPIO_WritePin(highSpeedPin2_GPIO_Port, highSpeedPin2_Pin, GPIO_PIN_SET);
		 					CurrMotorMode = 0x00;
		 					RPM_th = RPM_SPORT;
		 					break;
		 		case 0x01 : //Medium
		 //					//Motor 1
		 					HAL_GPIO_WritePin(lowSpeedPin1_GPIO_Port, lowSpeedPin1_Pin, GPIO_PIN_RESET);
		 					HAL_GPIO_WritePin(highSpeedPin1_GPIO_Port, highSpeedPin1_Pin, GPIO_PIN_RESET);
		 					//Motor 2
		 					HAL_GPIO_WritePin(lowSpeedPin2_GPIO_Port, lowSpeedPin2_Pin, GPIO_PIN_RESET);
		 					HAL_GPIO_WritePin(highSpeedPin2_GPIO_Port, highSpeedPin2_Pin, GPIO_PIN_RESET);
		 					CurrMotorMode = 0x01;
		 					RPM_th = RPM_NORMAL;
		 					break;
		 		case 0x02 : //Low
		 					//Motor 1
		 					HAL_GPIO_WritePin(lowSpeedPin1_GPIO_Port, lowSpeedPin1_Pin, GPIO_PIN_SET);
		 					HAL_GPIO_WritePin(highSpeedPin1_GPIO_Port, highSpeedPin1_Pin, GPIO_PIN_RESET);
		 					//Motor 2
		 					HAL_GPIO_WritePin(lowSpeedPin2_GPIO_Port, lowSpeedPin2_Pin, GPIO_PIN_SET);
		 					HAL_GPIO_WritePin(highSpeedPin2_GPIO_Port, highSpeedPin2_Pin, GPIO_PIN_RESET);
		 					CurrMotorMode = 0x02;
		 					RPM_th = RPM_ECO;
		 					break;
		 	}
	 }

	 if(SetMotorGear != CurrMotorGear)
	 {
	 		 switch(SetMotorGear)
	 		 	{
	 		 		case 0x08 : //Drive
	 		 					//Motor 1

	 		 					//Motor 2
	 		 					CurrMotorGear = 0x08;

	 		 					break;
	 		 		case 0x02 : //Reverse
	 		 					//Motor 1

	 		 					//Motor 2
	 		 					CurrMotorGear = 0x02;
	 		 					break;
	 		 		case 0x04 : //Park
	 		 					//Motor 1

	 		 					//Motor 2
	 		 					CurrMotorGear = 0x04;
	 		 					break;
	 		 	}
	 }
	memset(transmitBuffer, '\0', sizeof(transmitBuffer));
	osThreadSuspend(parseVotolTaskHandle);
    osDelay(1);
  }
  /* USER CODE END parseSetVotol */
}

void ackerman_func(void const * argument)
{
  /* USER CODE BEGIN ackerman_func */
	//float wheels_radius = 0.381/2; //(m)
	float wheels_radius = 0.06/2;//(m)
	//float wheels_radius = 0.3048/2; //(m)
	int vehicle_speedInt = 0;
	float L = 2.3; //(m) vehicle body length
	float d = 1.46; //(m) vehicle body width
  /* Infinite loop */
  for(;;)
  {
	 //timer_val = __HAL_TIM_GET_COUNTER(&htim2);
	  //Timer Start!
	  //timer_val = __HAL_TIM_GET_COUNTER(&htim2);
	  vehicle_speed = (Pedal * RPM_th / 255); //in RPM
	  vehicle_speed = (vehicle_speed * (2*3.14))/60; // in rad/s
	  vehicle_speed = vehicle_speed * wheels_radius; // (m/s)
	  vehicle_speedInt = (int) vehicle_speed;
	  Vehicle_Speed = vehicle_speedInt*3.6;

	  if(vehicle_speedInt == 0)
	  	  {
		  	  angular_speed =0;
	  		  turning_radius=0;
	  		  wheel_speed1 = 0;
	  		  wheel_speed2 = 0;
	  	  }
	  else
	  {
		  if(SteeringWheelInt == 0)
		  	  {
		  		  angular_speed =0;
		  		  turning_radius=0;
		  		  wheel_speed1 = vehicle_speed;
		  		  wheel_speed2 = vehicle_speed;
		  	  }
		  	  else
		  	  {
		  		if(SteeringWheelInt < -45)
		  		{
		  			SteeringWheelInt = -45;
		  		}
		  		else if(SteeringWheelInt > 45)
		  		{
		  			SteeringWheelInt = 45;
		  		}
		  		angular_speed = vehicle_speed * tanf(SteeringWheelInt*3.14/180)/L;
		  		turning_radius = vehicle_speed/angular_speed;

		  		wheel_speed1 = angular_speed * (turning_radius+(d/2));
		  		wheel_speed2 = angular_speed * (turning_radius-(d/2));
		  	  }
	  }

	  angular_speed1 = wheel_speed1 / wheels_radius; //in rad/s
	  angular_speed2 = wheel_speed2 / wheels_radius; //in rad/s

	  targetDAC1 = (int)(angular_speed1 * 60 / (2*3.14)); //in RPM
	  targetDAC2 = (int)(angular_speed2 * 60 / (2*3.14)); //in RPM

	  L_MotorRPM = targetDAC1;
	  R_MotorRPM = targetDAC2;

//	  sprintf(transmitBuffer, "%.2f, %.2f, %.2f, %.2f, %.2f, %.2f, %.2f, %.2f, %d, %d\n", SteeringWheel, vehicle_speed, L, d, angular_speed, turning_radius, wheel_speed1, wheel_speed2, targetDAC1, targetDAC2);
//	  HAL_UART_Transmit_IT(&huart3, transmitBuffer, 80-1);
//	  HAL_Delay(10);
	  //memset(transmitBuffer, '\0', sizeof(transmitBuffer));
	  //HAL_UART_Transmit_IT(&huart3, "\n", 1);

	  targetDAC1 = (targetDAC1 * 4095 / RPM_th) + 1.35*4095/2.95;
	  targetDAC2 = (targetDAC2 * 4095 / RPM_th) + 1.35*4095/2.95;
	  // Get time elapsed
	  //timer_val = __HAL_TIM_GET_COUNTER(&htim2) - timer_val;
	  osThreadSuspend(ackermanHandle);
    osDelay(1);
  }
  /* USER CODE END ackerman_func */
}

void throttleVotolTask(void const * argument)
{
  /* USER CODE BEGIN throttleVotolTask */
  /* Infinite loop */
  for(;;)
  {
	  if(targetDAC1>setDAC1)
	  {
	  	setDAC1++;
	  	if(setDAC1>4095)
	  	{
	  		setDAC1=4095;
	  	}
	  }
	  else if(targetDAC1<setDAC1)setDAC1--;
	  	if(targetDAC2>setDAC2)
	  	{
	  		setDAC2++;
	  		if(setDAC2>4095)
	  		{
	  			setDAC2=4095;
	  		}
	  	}
	  else if(targetDAC2<setDAC2)setDAC2--;
//	sprintf(transmitBuffer, "%.2f, %.2f, %.2f, %.2f\n", targetDAC1, targetDAC2, setDAC1, setDAC2);
//	HAL_UART_Transmit_IT(&huart3, transmitBuffer, 80-1);
//	HAL_Delay(10);
//	memset(transmitBuffer, '\0', sizeof(transmitBuffer));
	HAL_DAC_SetValue(&hdac, DAC_CHANNEL_1,DAC_ALIGN_12B_R, (setDAC1));
	HAL_DAC_SetValue(&hdac, DAC_CHANNEL_2,DAC_ALIGN_12B_R, (setDAC2));

	//timer_val = __HAL_TIM_GET_COUNTER(&htim2) - timer_val;
    osDelay(1);
  }
  /* USER CODE END throttleVotolTask */
}

void canRcvPXN(void const * argument)
{
  /* USER CODE BEGIN canRcvPXN */
  osThreadSuspend(parsePXNTaskHandle);
  /* Infinite loop */
  for(;;)
  {
	  if (CAN_State2 == HAL_OK)
	  {
	  		if(RxHeaderPXN.StdId == 0x100)
	  		{
	  			osThreadResume(parsePXNTaskHandle);
	  			HAL_GPIO_TogglePin (LED2_GPIO_Port, LED2_Pin);
	  		}

	  }
    osDelay(1);

  }
  /* USER CODE END canRcvPXN */
}

void HAL_TIM_PeriodElapsedCallback(TIM_HandleTypeDef *htim)
{
  if (htim->Instance == TIM6) {
    HAL_IncTick();
  }
}

void Error_Handler(void)
{
  __disable_irq();
  while (1)
  {
  }
}
